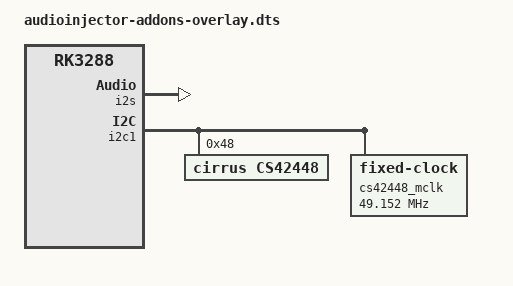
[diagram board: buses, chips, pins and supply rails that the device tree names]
// Definitions for audioinjector.net audio add on soundcard
/dts-v1/;
/plugin/;

#include <dt-bindings/pinctrl/rockchip.h>

/ {
	compatible = "rockchip,rk3288-miniarm", "rockchip,rk3288";

	fragment@0 {
		target = <&i2s>;
		__overlay__ {
			status = "okay";
			rockchip,bcm2835_compatibility_mode = <1>;
		};
	};

	fragment@1 {
		target = <&i2c1>;
		__overlay__ {
			#address-cells = <1>;
			#size-cells = <0>;
			status = "okay";

			cs42448: cs42448@48 {
				#sound-dai-cells = <0>;
				compatible = "cirrus,cs42448";
				reg = <0x48>;
				clocks = <&cs42448_mclk>;
				clock-names = "mclk";
				status = "okay";
			};

			cs42448_mclk: codec-mclk {
				compatible = "fixed-clock";
				#clock-cells = <0>;
				clock-frequency = <49152000>;
			};
		};
	};

	fragment@2 {
		target-path = "/sound-ext-card";
		snd: __overlay__ {
			compatible = "ai,audioinjector-octo-soundcard";
			mult-gpios = <&gpio5 RK_PB6 0>, <&gpio5 RK_PB7 0>, <&gpio5 RK_PB2 0>,
				     <&gpio5 RK_PB3 0>;
			reset-gpios = <&gpio5 RK_PB5 0>;
			i2s-controller = <&i2s>;
			codec = <&cs42448>;
			status = "okay";
		};
	};

	fragment@3 {
		target-path = "/sound-simple-card";
		__overlay__ {
			status = "disabled";
		};
	};

	fragment@4 {
		target = <&hdmi>;
		__overlay__ {
			hdmi-i2s-audio-disable;
		};
	};

	__overrides__ {
		non-stop-clocks = <&snd>, "non-stop-clocks?";
	};
};
